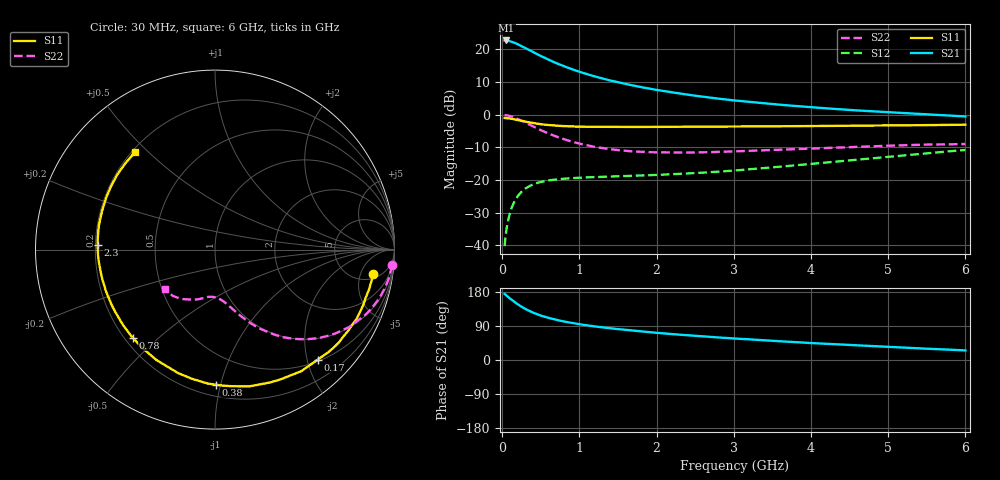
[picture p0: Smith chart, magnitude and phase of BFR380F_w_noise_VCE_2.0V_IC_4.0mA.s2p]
! Infineon Technologies  Discrete & RF Semiconductors
! BFR380F
! VCE =  2.0 V,  IC =  4.0 mA
! Common Emitter S-Parameters:  Nov 2015
# GHz  S  MA  R  50
!  f  S11  S21  S12  S22
! GHz  MAG  ANG  MAG  ANG  MAG  ANG  MAG  ANG
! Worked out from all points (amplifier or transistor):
!   206 points, 30 MHz to 6 GHz, reference 50 ohm
!   highest |S21| = 22.7 dB at 50 MHz (marker M1)
!   |S21| within 3 dB of that: start of sweep to 354.3 MHz
!   unconditionally stable (mu >= 1): 2.358 GHz to 5.228 GHz
!   at 200 MHz: K = 0.11, MSG = 23.3 dB, |S12| = -24.9 dB
!   at 1.56 GHz: K = 0.76, MSG = 14.2 dB, |S12| = -18.8 dB
!   at 6 GHz: K = 0.97, MSG = 5.1 dB, |S12| = -10.8 dB
!   lowest NFmin = 0.76 dB at 450 MHz
!   S11 on the Smith chart (normalised r, x): 30 MHz: 6, -8; 170 MHz: 0.53, -2.19; 380 MHz: 0.28, -0.97; 780 MHz: 0.23, -0.41; 2.3 GHz: 0.21, +0.02; 6 GHz: 0.21, +0.46
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0.03  0.8917 -8.7  13.67 174.6  0.0097 85.0  0.99 -5.0
0.05  0.8864 -14.6  13.72 170.5  0.0162 81.6  0.9842 -8.2
0.08  0.879 -23.3  13.54 165.8  0.0255 78.0  0.969 -13.1
0.12  0.8634 -34.3  13.11 158.9  0.037 72.5  0.9401 -19.2
0.17  0.8386 -47.0  12.44 151.4  0.0495 65.8  0.8922 -25.9
0.2  0.8306 -54.6  12.03 146.9  0.0566 62.5  0.8631 -30.0
0.26  0.8013 -67.5  11.11 139.4  0.0678 56.4  0.7993 -36.7
0.3  0.7857 -75.9  10.52 134.6  0.0742 52.9  0.7565 -40.8
0.38  0.7524 -89.7  9.367 126.8  0.0836 47.2  0.6779 -47.3
0.45  0.7307 -100.3  8.492 120.7  0.0901 43.3  0.6175 -52.2
0.5  0.7175 -106.8  7.921 117.1  0.0935 41.0  0.5788 -55.0
0.6  0.6964 -117.9  6.947 110.9  0.0987 37.5  0.5143 -59.8
0.78  0.6712 -133.0  5.643 102.4  0.1044 33.6  0.4287 -66.2
0.9  0.6625 -140.8  4.985 97.7  0.1069 32.2  0.3876 -69.6
1.04  0.6549 -148.2  4.393 93.2  0.109 31.5  0.3521 -72.8
1.5  0.6492 -165.2  3.139 81.4  0.114 32.3  0.287 -81.8
2.02  0.6523 -177.3  2.379 71.4  0.1199 36.4  0.2655 -89.9
2.3  0.6544 177.7  2.113 66.8  0.1241 39.3  0.2636 -93.7
3.1  0.6609 166.4  1.616 55.7  0.1427 47.7  0.2771 -103.4
4.1  0.6724 153.4  1.277 43.8  0.181 55.0  0.3056 -114.0
5.1  0.6867 141.4  1.075 33.8  0.2328 58.0  0.3376 -126.8
6  0.703 129.3  0.941 25.3  0.2883 56.4  0.3559 -141.4
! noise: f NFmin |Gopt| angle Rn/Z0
0.45  0.76  0.33  41  0.13
0.9  0.77  0.32  86  0.16
1.8  1.22  0.4  146  0.09
1.9  1.36  0.42  149  0.09
2.4  1.57  0.44  166  0.08
3.5  2.35  0.52  -165  0.1
